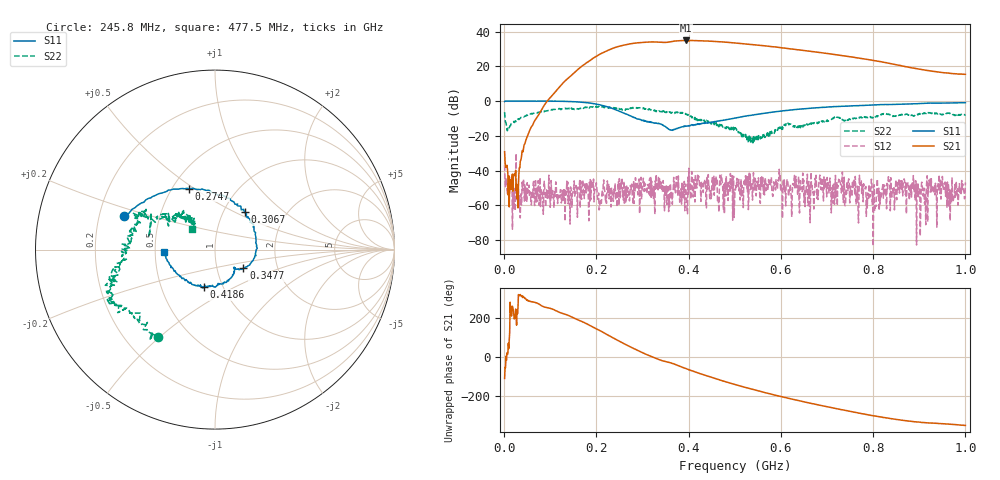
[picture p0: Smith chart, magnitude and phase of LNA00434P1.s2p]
! Created with skrf 1.9.0 (http://scikit-rf.org).
# Hz S RI R 50.0
!freq ReS11 ImS11 ReS21 ImS21 ReS12 ImS12 ReS22 ImS22
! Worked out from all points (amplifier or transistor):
!   1001 points, 1 MHz to 1 GHz, reference 50 ohm
!   highest |S21| = 34.9 dB at 394.6 MHz (marker M1)
!   |S21| within 3 dB of that: 254.7 MHz to 561 MHz (306.2 MHz wide, 75.1 % of centre)
!   unconditionally stable (mu >= 1): 24.61 MHz to 67.66 MHz; 223.8 MHz to 296.6 MHz; 301.9 MHz to end of sweep (the widest 3 of 36)
!   at 166.8 MHz: K = 2.72, MAG = 29.9 dB, |S12| = -54.4 dB
!   at 500.5 MHz: K = 3.30, MAG = 34.1 dB, |S12| = -50.9 dB
!   at 1 GHz: K = 2.69, MAG = 24.0 dB, |S12| = -46.9 dB
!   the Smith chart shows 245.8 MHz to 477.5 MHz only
!   S11 on the Smith chart (normalised r, x): 245.8 MHz: 0.31, +0.16; 274.7 MHz: 0.61, +0.48; 306.7 MHz: 1.26, +0.56; 347.7 MHz: 1.34, -0.29; 418.6 MHz: 0.81, -0.35; 477.5 MHz: 0.56, -0.02
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1000000  0.9752 0.00562  -0.0125 -0.0326  -0.0133 0.0053  0.3571 0.3209
1.08892e8  0.5237 -0.8463  -0.8014 -1.524  0.001 0.00248  0.4407 -0.3729
1.67833e8  -0.2275 -0.8993  -9.956 -0.6052  0.00143 -0.000403  0.0549 -0.6323
2.11789e8  -0.6776 -0.347  -15.48 18.32  -0.000537 0.00199  -0.2039 -0.6501
2.28772e8  -0.6488 -0.0593  -9.132 28.72  0.000819 -0.00299  -0.2675 -0.6208
2.45755e8  -0.5043 0.1861  2.491 36.63  0.00102 0.000921  -0.3182 -0.4873
2.74726e8  -0.1455 0.3393  28.59 34.54  -0.00297 -0.00165  -0.5196 -0.3114
3.06694e8  0.1658 0.2085  48.08 12.26  -0.0029 0.00199  -0.5785 -0.1696
3.34666e8  0.2287 -0.0331  48.69 -11.31  -0.00232 0.00592  -0.5024 -0.0204
3.47653e8  0.1587 -0.1032  45.22 -18.87  0.000235 0.000654  -0.5019 0.0219
3.71629e8  0.1091 -0.1132  41.56 -34.32  -0.00037 0.00226  -0.4338 0.1806
3.94606e8  0.0522 -0.1826  27.19 -48.68  0.00236 -0.000259  -0.3784 0.1815
4.18582e8  -0.0633 -0.207  8.436 -54.15  0.00409 0.00476  -0.2152 0.1731
4.45555e8  -0.1856 -0.1578  -11.36 -51.87  -0.000141 0.00165  -0.1566 0.1726
4.77523e8  -0.2835 -0.015  -29.61 -40.43  0.000477 0.000297  -0.1279 0.1153
5.005e8  -0.3034 0.1116  -37.77 -28.86  -0.00284 -7.77e-05  -0.125 0.1179
5.4046e8  -0.2347 0.3225  -41.17 -8.294  0.00803 -0.00323  -0.0897 0.0482
5.88412e8  -0.0443 0.4917  -34.32 11.21  0.00156 -0.00228  -0.1301 -0.0526
6.67333e8  0.3314 0.5343  -12.95 23.3  -0.00154 -0.00337  -0.2331 -0.0195
7.53247e8  0.6333 0.3631  4.044 18.17  -0.00209 -0.000927  -0.307 0.05
8.34166e8  0.7864 0.1308  8.949 8.434  -0.00484 -0.000425  -0.4082 0.1127
1e9  0.8082 -0.4013  5.877 0.6529  -0.00283 0.00354  -0.1196 0.388
